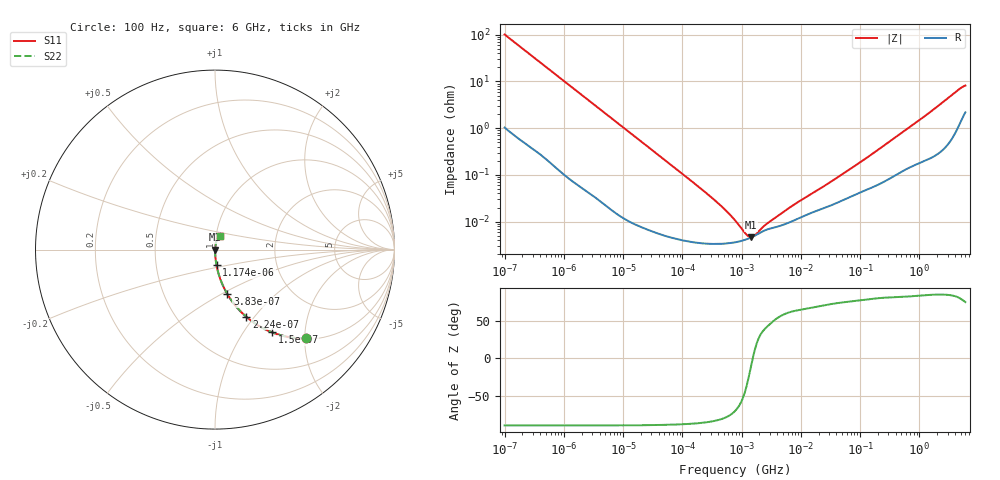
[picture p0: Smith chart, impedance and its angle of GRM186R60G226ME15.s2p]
!Murata Part Number: GRM186R60G226ME15
!These Parameters are Measured in Series Mode Connection
!Data Generated on Mar 30, 2021
!  o--ll--o
!Port1  Port2
!  o------o
!Operation Temp=25[degC], DC Bias Voltage=0[V]
!Freq. Start=100[Hz] Stop=6[GHz] 401[Steps]
# Hz S RI R 50
!Freq.(Hz) S11(Real) S11(Imag) S21(Real) S21(Imag) S12(Real) S12(Imag) S22(Real) S22(Imag)
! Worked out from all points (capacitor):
!   401 points, 100 Hz to 6 GHz, reference 50 ohm
!   read as one part in series: C = 15.7 uF near 109 Hz
!   lowest |Z| = 4.64 mohm at 1.45 MHz (marker M1)
!   series resonance near 1.546 MHz, so ESL is about 680 pH
!   S11 on the Smith chart (normalised r, x): 100 Hz: 1.02, -2.03; 150 Hz: 1.01, -1.36; 224 Hz: 1.01, -0.91; 383 Hz: 1.01, -0.53; 1.174 kHz: 1.00, -0.18; 6 GHz: 1.04, +0.16
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100  0.5064 -0.4949  0.4936 0.4949  0.4936 0.4949  0.5064 -0.4949
150  0.3171 -0.4603  0.6829 0.4603  0.6829 0.4603  0.3171 -0.4603
224  0.1739 -0.3739  0.8261 0.3739  0.8261 0.3739  0.1739 -0.3739
383  0.0687 -0.2477  0.9313 0.2477  0.9313 0.2477  0.0687 -0.2477
656  0.0254 -0.1522  0.9746 0.1522  0.9746 0.1522  0.0254 -0.1522
1174  0.00848 -0.0869  0.9915 0.0869  0.9915 0.0869  0.00848 -0.0869
2008  0.00316 -0.0512  0.9968 0.0512  0.9968 0.0512  0.00316 -0.0512
6433  0.000436 -0.0162  0.9996 0.0162  0.9996 0.0162  0.000436 -0.0162
40335  6.12e-05 -0.0026  0.9999 0.0026  0.9999 0.0026  6.12e-05 -0.0026
302498  3.34e-05 -0.000336  1 0.000336  1 0.000336  3.34e-05 -0.000336
495019  3.36e-05 -0.000191  1 0.000191  1 0.000191  3.36e-05 -0.000191
774597  3.59e-05 -0.0001  1 0.0001  1 0.0001  3.59e-05 -0.0001
885955  3.71e-05 -7.81e-05  1 7.81e-05  1 7.81e-05  3.71e-05 -7.81e-05
1449809  4.57e-05 -8.1e-06  1 8.1e-06  1 8.1e-06  4.57e-05 -8.1e-06
3103719  7.13e-05 7.45e-05  0.9999 -7.45e-05  0.9999 -7.45e-05  7.13e-05 7.45e-05
7599586  0.000105 0.000203  0.9999 -0.000203  0.9999 -0.000203  0.000105 0.000203
1.555665e7  0.000156 0.000369  0.9998 -0.000369  0.9998 -0.000369  0.000156 0.000369
8.527865e7  0.000386 0.00157  0.9996 -0.00157  0.9996 -0.00157  0.000386 0.00157
3.124326e8  0.000849 0.00506  0.9992 -0.00506  0.9992 -0.00506  0.000849 0.00506
1.251881e9  0.00233 0.0181  0.9977 -0.0181  0.9977 -0.0181  0.00233 0.0181
4.586474e9  0.0149 0.064  0.9851 -0.064  0.9851 -0.064  0.0149 0.064
6e9  0.0271 0.075  0.9729 -0.075  0.9729 -0.075  0.0271 0.075
